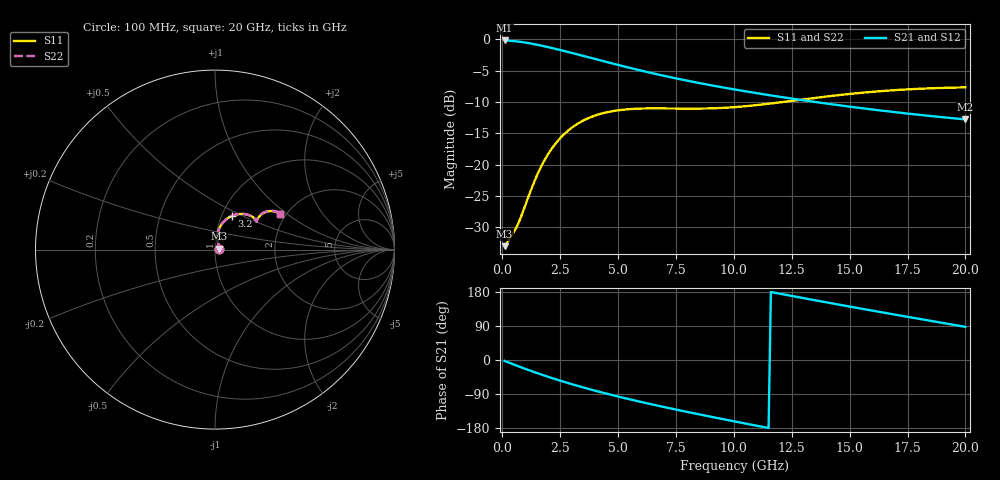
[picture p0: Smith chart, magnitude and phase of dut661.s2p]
! Touchstone file exported from HFSS 2024.1.0
!  File:  C:/UserFiles/LocalFiles/RDL_TSV_Batchsim/temp_RDL_TSV_661_1779811792.aedt
!  Generated:  12:28:04 AM May 27, 2026
!  Design:  RDL_TSV
!  Project:  temp_RDL_TSV_661_1779811792
!  Setup:  Setup1
!  Solution:  Sweep
! Variables:
!  dtsv = 11.14um
!  hbump = 3um
!  htsv = 77.45um
!  ldown = 596.68um
!  lrdl = 545.5um
!  p = 40
!  p1 = 59.64um
!  rhole = 10um
!  subl = 3972.04um
!  t = 450um
!  tdown = 4.08um
!  trdl = 2.73um
!  viad = 10um
!  wdown = 27.66um
!  wrdl = 17.71um
!  xbump = 18um
# GHz S MA R 50.000000
! Terminal data exported
! Port[1] = TM1_1_T1
! Port[2] = TM1_4_T1
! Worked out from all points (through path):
!   200 points, 100 MHz to 20 GHz, reference 50 ohm
!   highest |S21| = -0.20 dB at 100 MHz (marker M1); lowest = -12.8 dB at 20 GHz (marker M2)
!   group delay of S21, straight-line fit = 35.7 ps
!   lowest |S11| = -33.0 dB at 100 MHz (marker M3), VSWR 1.05, Z = 52.2 + j0.469 ohm
!   |S11| at or under -10 dB: start of sweep to 12.14 GHz
!   |S22| runs from -33.0 to -7.6 dB; largest |S21 - S12| = 1e-14
!   S11 on the Smith chart (normalised r, x): 100 MHz: 1.04, +0.01; 3.2 GHz: 1.11, +0.44; 20 GHz: 1.87, +0.89
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0.1  0.02237 11.6  0.9775 -2.5  0.9775 -2.5  0.02237 11.6
! Gamma 0 0 0 0
! Port Impedance 50 0 50 0
0.5  0.02902 43.5  0.9659 -12.0  0.9659 -12.0  0.02902 43.5
0.7  0.03428 57.2  0.9568 -16.7  0.9568 -16.7  0.03427 57.1
1.2  0.06018 77.6  0.9263 -28.0  0.9263 -28.0  0.06012 77.6
1.6  0.09019 80.6  0.8962 -36.6  0.8962 -36.6  0.0901 80.6
1.9  0.1147 79.2  0.8718 -42.8  0.8718 -42.8  0.1146 79.2
2.3  0.1471 75.2  0.8379 -50.7  0.8379 -50.7  0.1469 75.2
2.7  0.1769 70.1  0.8034 -58.3  0.8034 -58.3  0.1768 70.2
3.2  0.2089 63.6  0.7607 -67.3  0.7607 -67.3  0.2086 63.6
3.5  0.2248 59.8  0.7358 -72.5  0.7358 -72.5  0.2245 59.9
4.3  0.2557 50.9  0.6729 -85.7  0.6729 -85.7  0.2554 51.0
5.1  0.2726 43.9  0.6167 -97.9  0.6167 -97.9  0.2722 44.0
5.9  0.2796 38.8  0.5673 -109.4  0.5673 -109.4  0.2792 38.9
6.8  0.2809 35.3  0.5195 -121.7  0.5195 -121.7  0.2805 35.4
8.4  0.2796 33.5  0.4511 -142.2  0.4511 -142.2  0.2793 33.7
10.1  0.288 35.2  0.3954 -163.0  0.3954 -163.0  0.288 35.5
11.6  0.3073 36.9  0.3563 179.4  0.3563 179.4  0.3077 37.1
13.4  0.3386 37.1  0.3179 158.8  0.3179 158.8  0.3394 37.3
15  0.3662 35.6  0.2899 141.0  0.2899 141.0  0.3674 35.9
16.7  0.3898 33.2  0.2653 122.5  0.2653 122.5  0.3914 33.4
18.3  0.4047 30.8  0.2462 105.4  0.2462 105.4  0.4066 30.9
20  0.4133 28.4  0.2296 87.5  0.2296 87.5  0.4154 28.6
